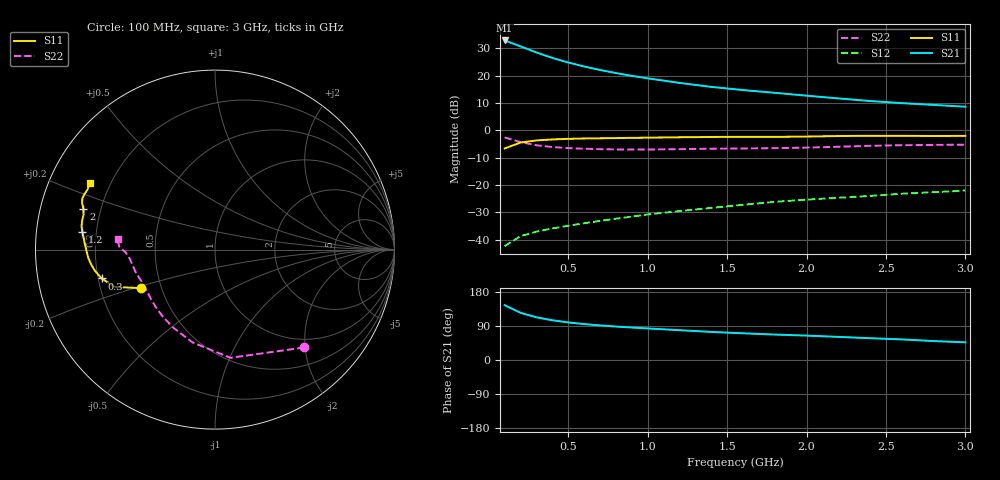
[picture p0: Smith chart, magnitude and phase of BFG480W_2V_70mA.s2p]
! Filename: 270BFG480.001
! Title: BFG480W
! Bias: Vce=2V; Ic=70mA
! Company: Philips Semiconductors NL
! User: Quality&Reliability T&D
! Measure time: 10 Nov 1999 / 11:54:25
#  MHz  S  MA  R 50
! Freq  S11  S21  S12  S22  :
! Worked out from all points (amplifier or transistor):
!   20 points, 100 MHz to 3 GHz, reference 50 ohm
!   highest |S21| = 32.9 dB at 100 MHz (marker M1)
!   |S21| within 3 dB of that: start of sweep to 238 MHz
!   unconditionally stable (mu >= 1): 767.6 MHz to end of sweep
!   at 400 MHz: K = 0.77, MSG = 31.2 dB, |S12| = -36.0 dB
!   at 1.2 GHz: K = 1.08, MAG = 21.7 dB, |S12| = -29.6 dB
!   at 3 GHz: K = 1.10, MAG = 13.4 dB, |S12| = -22.1 dB
!   S11 on the Smith chart (normalised r, x): 100 MHz: 0.38, -0.21; 300 MHz: 0.21, -0.12; 1.2 GHz: 0.15, +0.06; 2 GHz: 0.13, +0.15; 3 GHz: 0.12, +0.24
100  0.4649 -152.5  44.1 144.8  0.007553 67.1  0.7379 -47.6
200  0.5959 -159.6  34.44 124.5  0.01154 57.2  0.609 -81.9
300  0.6515 -165.7  26.59 112.7  0.01392 55.3  0.532 -103.7
400  0.6799 -170.1  21.13 104.8  0.01591 56.4  0.4928 -118.4
500  0.6962 -173.4  17.43 99.2  0.01786 58.2  0.4717 -128.7
600  0.7073 -176.2  14.72 94.8  0.01986 60.1  0.4592 -136.2
700  0.7133 -178.5  12.73 91.3  0.02191 62.2  0.4508 -142.0
800  0.7193 179.4  11.17 88.3  0.02403 64.0  0.4459 -146.7
900  0.7265 177.4  9.926 85.7  0.02621 65.8  0.4436 -150.7
1000  0.7322 175.6  8.933 83.3  0.0287 67.0  0.4441 -154.3
1200  0.7448 172.5  7.375 78.7  0.03323 68.8  0.4509 -160.0
1400  0.7544 170.1  6.236 74.1  0.03791 69.9  0.4597 -164.3
1600  0.758 167.7  5.446 70.4  0.04319 70.8  0.4645 -167.7
1800  0.7577 165.1  4.855 67.1  0.04896 71.5  0.4708 -171.1
2000  0.767 162.9  4.297 64.4  0.05372 72.4  0.4812 -175.1
2200  0.7846 160.7  3.831 61.0  0.05808 72.3  0.4989 -178.3
2400  0.7924 158.9  3.432 57.5  0.06289 71.9  0.5194 179.7
2600  0.7907 157.1  3.142 54.4  0.06893 71.2  0.5336 178.3
2800  0.7853 154.8  2.91 49.9  0.07356 69.9  0.5394 176.4
3000  0.7895 152.2  2.704 46.6  0.07879 69.2  0.5458 173.6
